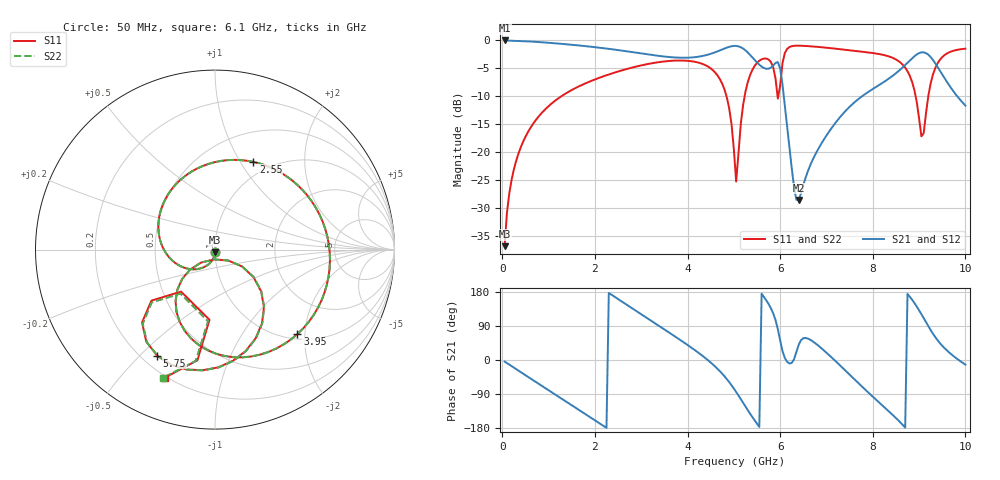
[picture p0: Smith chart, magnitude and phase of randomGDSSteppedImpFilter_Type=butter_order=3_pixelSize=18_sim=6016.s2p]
! freq	dB(S11)	phase(S11)	dB(S12)	phase(S12)
!  dB(S21)	phase(S21)	dB(S22)	phase(S22)
!S-par simulation data
#  GHz  S  DB  R 50
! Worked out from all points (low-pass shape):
!   200 points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, 50 MHz to 10 GHz, reference 50 ohm
!   highest |S21| = -0.03 dB at 50 MHz (marker M1); lowest = -28.6 dB at 6.4 GHz (marker M2)
!   |S21| within 3 dB of the highest: start of sweep to 3.654 GHz; 4.147 GHz to 5.397 GHz (1.25 GHz wide, 26.2 % of centre) (the widest 2 of 3)
!   lowest |S11| = -36.8 dB at 50 MHz (marker M3), VSWR 1.03, Z = 50.1 - j1.44 ohm
!   |S11| at or under -10 dB: start of sweep to 1.277 GHz; 4.841 GHz to 5.234 GHz (392.7 MHz wide, 7.8 % of centre); 8.925 GHz to 9.199 GHz (274 MHz wide, 3.02 % of centre) (the widest 3 of 4)
!   |S22| runs from -36.8 to -1.0 dB; largest |S21 - S12| = 0
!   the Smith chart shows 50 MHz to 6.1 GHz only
!   S11 on the Smith chart (normalised r, x): 50 MHz: 1.00, -0.03; 2.55 GHz: 0.84, +1.14; 3.95 GHz: 1.10, -1.83; 5.75 GHz: 0.26, -0.56; 6.1 GHz: 0.19, -0.66
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0.05  -36.81 -83.3  -0.03 -4.1  -0.03 -4.1  -36.81 -83.3
0.5  -17.26 -129.1  -0.17 -40.1  -0.17 -40.1  -17.26 -129.2
1.1  -11.07 -178.0  -0.51 -87.8  -0.51 -87.8  -11.07 -178.0
1.75  -7.87 130.2  -1.01 -139.3  -1.01 -139.3  -7.87 130.1
2.55  -5.46 66.3  -1.81 156.9  -1.81 156.9  -5.46 66.3
3.4  -3.88 -1.5  -2.81 88.7  -2.81 88.7  -3.88 -1.5
3.95  -3.64 -45.7  -3.12 43.9  -3.12 43.9  -3.64 -45.6
4.75  -7.79 -121.8  -1.64 -36.3  -1.64 -36.3  -7.79 -121.6
5.05  -25.25 -93.7  -1.01 -84.3  -1.01 -84.3  -25.29 -93.5
5.3  -7.52 -49.6  -2.17 -132.2  -2.17 -132.2  -7.52 -49.3
5.75  -3.44 -118.6  -5.08 147.7  -5.08 147.7  -3.43 -118.1
5.95  -10.43 -129.0  -3.90 81.3  -3.90 81.3  -10.13 -128.1
6.1  -2.31 -111.4  -11.60 5.6  -11.60 5.6  -2.28 -111.9
6.4  -0.96 -160.1  -28.56 40.0  -28.56 40.0  -0.97 -160.3
6.7  -1.10 164.5  -21.41 49.6  -21.41 49.6  -1.10 164.4
7.4  -1.70 78.4  -12.73 -26.8  -12.73 -26.8  -1.70 78.1
7.9  -2.17 15.8  -9.25 -85.4  -9.25 -85.4  -2.18 15.4
8.35  -2.89 -35.7  -6.83 -135.8  -6.83 -135.8  -2.89 -36.2
8.85  -7.46 -93.1  -3.22 158.9  -3.22 158.9  -7.46 -93.7
9.15  -13.01 -23.8  -2.29 99.6  -2.29 99.6  -13.03 -24.0
9.45  -3.48 -52.0  -5.44 44.6  -5.44 44.6  -3.48 -52.3
10  -1.50 -104.7  -11.69 -12.3  -11.69 -12.3  -1.50 -104.9
